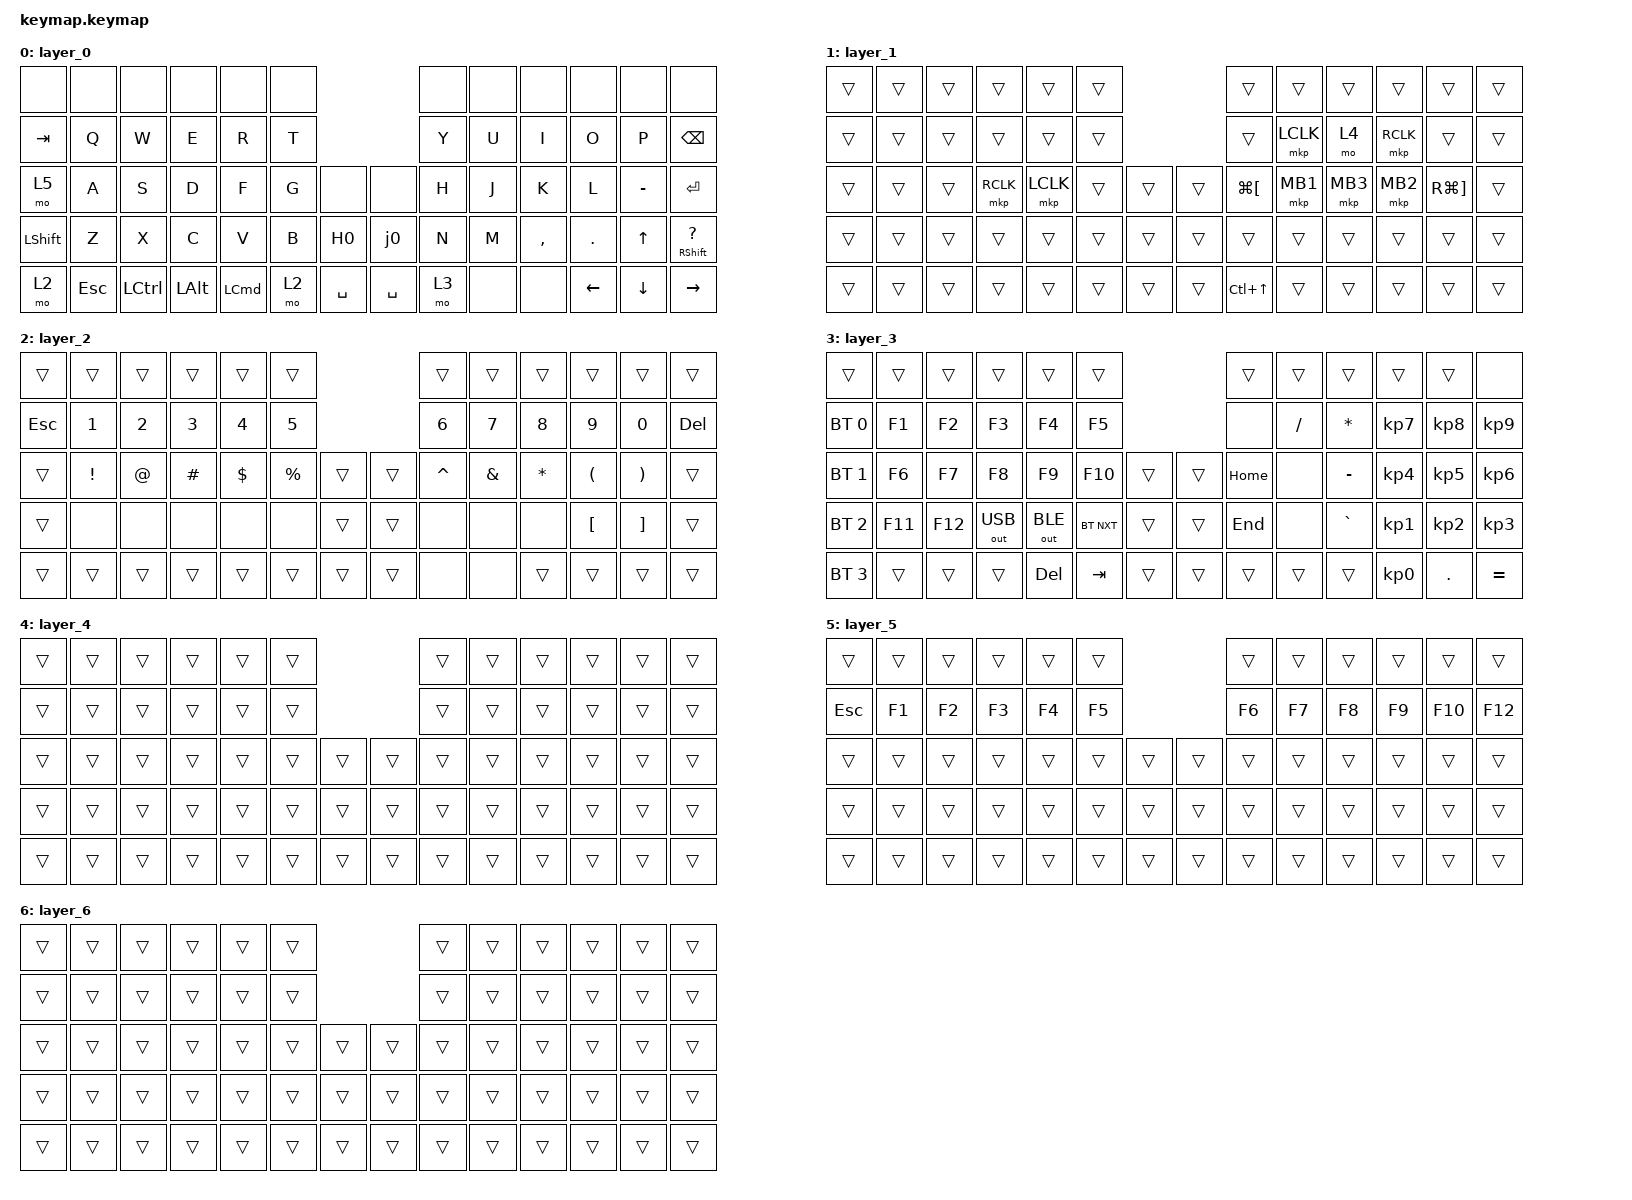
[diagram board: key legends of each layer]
#include <behaviors.dtsi>
#include <dt-bindings/zmk/bt.h>
#include <dt-bindings/zmk/keys.h>
#include <dt-bindings/zmk/outputs.h>
#include <dt-bindings/zmk/pointing.h>

/ {
    combos {
        compatible = "zmk,combos";

        bt_clear {
            bindings = <&bt BT_CLR>;
            key-positions = <28 29>;
            layers = <2>;
        };
    };

    macros {
        j0: j0 {
            compatible = "zmk,behavior-macro";
            #binding-cells = <0>;
            bindings = <&kp LPAR &kp RPAR &kp J &kp N0>;
            label = "J0";
        };

        H0: H0 {
            compatible = "zmk,behavior-macro";
            #binding-cells = <0>;
            bindings = <&kp LPAR &kp RPAR &kp H &kp N0>;
            label = "H0";
        };
    };

    keymap {
        compatible = "zmk,keymap";

        layer_0 {
            bindings = <
&none      &none       &none             &none     &none             &none                        &none  &none  &none      &none           &none           &none
&kp TAB    &kp Q       &kp W             &kp E     &kp R             &kp T                        &kp Y  &kp U  &kp I      &kp O           &kp P           &kp BSPC
&mo 5      &kp A       &kp S             &kp D     &kp F             &kp G  &none      &none      &kp H  &kp J  &kp K      &kp L           &kp MINUS       &kp ENTER
&kp LSHFT  &kp Z       &kp X             &kp C     &kp V             &kp B  &H0        &j0        &kp N  &kp M  &kp COMMA  &kp DOT         &kp UP_ARROW    &mt RSHFT QUESTION
&mo 2      &kp ESCAPE  &kp LEFT_CONTROL  &kp LALT  &kp LEFT_COMMAND  &mo 2  &kp SPACE  &kp SPACE  &mo 3  &none  &none      &kp LEFT_ARROW  &kp DOWN_ARROW  &kp RIGHT_ARROW
            >;
        };

        layer_1 {
            bindings = <
&trans  &trans  &trans  &trans     &trans     &trans                  &trans                &trans     &trans    &trans     &trans                 &trans
&trans  &trans  &trans  &trans     &trans     &trans                  &trans                &mkp LCLK  &mo 4     &mkp RCLK  &trans                 &trans
&trans  &trans  &trans  &mkp RCLK  &mkp LCLK  &trans  &trans  &trans  &kp LG(LEFT_BRACKET)  &mkp MB1   &mkp MB3  &mkp MB2   &kp RG(RIGHT_BRACKET)  &trans
&trans  &trans  &trans  &trans     &trans     &trans  &trans  &trans  &trans                &trans     &trans    &trans     &trans                 &trans
&trans  &trans  &trans  &trans     &trans     &trans  &trans  &trans  &kp LC(UP_ARROW)      &trans     &trans    &trans     &trans                 &trans
            >;
        };

        layer_2 {
            bindings = <
&trans      &trans    &trans  &trans    &trans      &trans                     &trans     &trans         &trans     &trans                &trans                 &trans
&kp ESCAPE  &kp N1    &kp N2  &kp N3    &kp N4      &kp N5                     &kp N6     &kp N7         &kp N8     &kp N9                &kp N0                 &kp DELETE
&trans      &kp EXCL  &kp AT  &kp HASH  &kp DOLLAR  &kp PRCNT  &trans  &trans  &kp CARET  &kp AMPERSAND  &kp ASTRK  &kp LEFT_PARENTHESIS  &kp RIGHT_PARENTHESIS  &trans
&trans      &none     &none   &none     &none       &none      &trans  &trans  &none      &none          &none      &kp LEFT_BRACKET      &kp RIGHT_BRACKET      &trans
&trans      &trans    &trans  &trans    &trans      &trans     &trans  &trans  &none      &none          &trans     &trans                &trans                 &trans
            >;
        };

        layer_3 {
            bindings = <
&trans        &trans   &trans   &trans        &trans        &trans                      &trans    &trans    &trans     &trans           &trans           &none
&bt BT_SEL 0  &kp F1   &kp F2   &kp F3        &kp F4        &kp F5                      &none     &kp FSLH  &kp ASTRK  &kp KP_NUMBER_7  &kp KP_NUMBER_8  &kp KP_NUMBER_9
&bt BT_SEL 1  &kp F6   &kp F7   &kp F8        &kp F9        &kp F10     &trans  &trans  &kp HOME  &none     &kp MINUS  &kp KP_NUMBER_4  &kp KP_NUMBER_5  &kp KP_NUMBER_6
&bt BT_SEL 2  &kp F11  &kp F12  &out OUT_USB  &out OUT_BLE  &bt BT_NXT  &trans  &trans  &kp END   &none     &kp GRAVE  &kp KP_NUMBER_1  &kp KP_NUMBER_2  &kp KP_NUMBER_3
&bt BT_SEL 3  &trans   &trans   &trans        &kp DELETE    &kp TAB     &trans  &trans  &trans    &trans    &trans     &kp KP_NUMBER_0  &kp DOT          &kp EQUAL
            >;
        };

        layer_4 {
            bindings = <
&trans  &trans  &trans  &trans  &trans  &trans                  &trans  &trans  &trans  &trans  &trans  &trans
&trans  &trans  &trans  &trans  &trans  &trans                  &trans  &trans  &trans  &trans  &trans  &trans
&trans  &trans  &trans  &trans  &trans  &trans  &trans  &trans  &trans  &trans  &trans  &trans  &trans  &trans
&trans  &trans  &trans  &trans  &trans  &trans  &trans  &trans  &trans  &trans  &trans  &trans  &trans  &trans
&trans  &trans  &trans  &trans  &trans  &trans  &trans  &trans  &trans  &trans  &trans  &trans  &trans  &trans
            >;
        };

        layer_5 {
            bindings = <
&trans   &trans  &trans  &trans  &trans  &trans                  &trans  &trans  &trans  &trans  &trans   &trans
&kp ESC  &kp F1  &kp F2  &kp F3  &kp F4  &kp F5                  &kp F6  &kp F7  &kp F8  &kp F9  &kp F10  &kp F12
&trans   &trans  &trans  &trans  &trans  &trans  &trans  &trans  &trans  &trans  &trans  &trans  &trans   &trans
&trans   &trans  &trans  &trans  &trans  &trans  &trans  &trans  &trans  &trans  &trans  &trans  &trans   &trans
&trans   &trans  &trans  &trans  &trans  &trans  &trans  &trans  &trans  &trans  &trans  &trans  &trans   &trans
            >;
        };

        layer_6 {
            bindings = <
&trans  &trans  &trans  &trans  &trans  &trans                  &trans  &trans  &trans  &trans  &trans  &trans
&trans  &trans  &trans  &trans  &trans  &trans                  &trans  &trans  &trans  &trans  &trans  &trans
&trans  &trans  &trans  &trans  &trans  &trans  &trans  &trans  &trans  &trans  &trans  &trans  &trans  &trans
&trans  &trans  &trans  &trans  &trans  &trans  &trans  &trans  &trans  &trans  &trans  &trans  &trans  &trans
&trans  &trans  &trans  &trans  &trans  &trans  &trans  &trans  &trans  &trans  &trans  &trans  &trans  &trans
            >;
        };
    };
};
